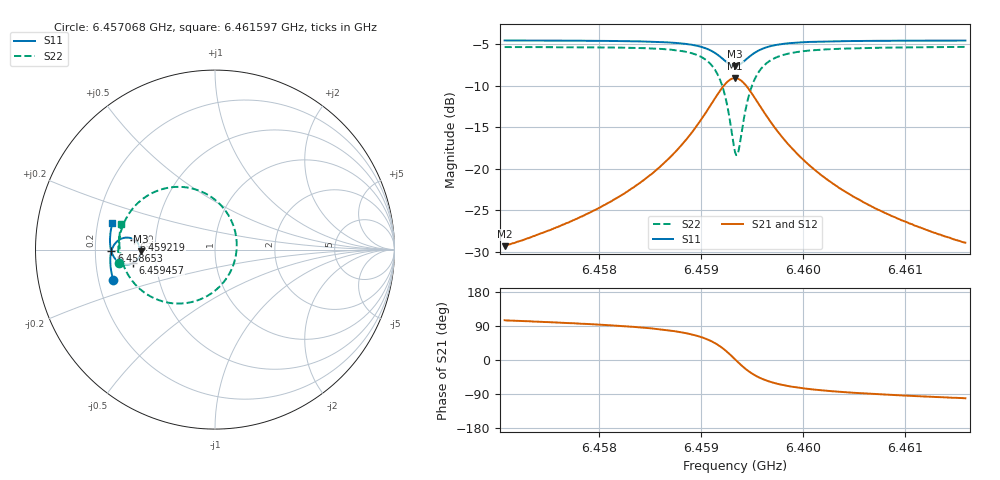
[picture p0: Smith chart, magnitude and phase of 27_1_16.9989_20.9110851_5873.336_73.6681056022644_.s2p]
#  HZ  S  RI  R  50.00
! Rohde & Schwarz Vector Network Analyzer
! Rohde-Schwarz,ZNB20-2Port,1311601062101988,3.16
! Created: UTC 3/20/2024, 10:53:13 PM
! freq[Hz]  re:S11  im:S11  re:S21  im:S21  re:S12  im:S12  re:S22  im:S22
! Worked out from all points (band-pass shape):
!   401 points, 6.457068 GHz to 6.461597 GHz, reference 50 ohm
!   highest |S21| = -9.09 dB at 6.459332 GHz (marker M1); lowest = -29.4 dB at 6.457068 GHz (marker M2)
!   |S21| within 3 dB of the highest: 6.459106 GHz to 6.459559 GHz (452.8 kHz wide, 0.00701 % of centre)
!   lowest |S11| = -7.6 dB at 6.459332 GHz (marker M3), VSWR 2.42, Z = 20.7 - j0.421 ohm
!   |S11| at or under -10 dB: nowhere
!   |S22| runs from -18.4 to -5.3 dB; largest |S21 - S12| = 0.014
!   S11 on the Smith chart (normalised r, x): 6.457068 GHz: 0.26, -0.13; 6.458653 GHz: 0.27, -0.01; 6.459219 GHz: 0.38, +0.05; 6.459457 GHz: 0.37, -0.07; 6.461597 GHz: 0.26, +0.12
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6.4570675e9  -0.5678 -0.1667  -0.00873 0.0329  -0.00686 0.0331  -0.5346 -0.0761
6.4578262e9  -0.5811 -0.1  -0.00501 0.0511  -0.00267 0.0506  -0.5386 0.0136
6.4582565e9  -0.5836 -0.0565  0.0013 0.0716  0.00458 0.0702  -0.5289 0.083
6.4585849e9  -0.5793 -0.0167  0.0154 0.1001  0.0194 0.0973  -0.5028 0.1586
6.4586529e9  -0.5771 -0.00717  0.0207 0.1085  0.0248 0.1053  -0.4923 0.1786
6.4588454e9  -0.5641 0.0232  0.0479 0.1397  0.052 0.1346  -0.4412 0.2478
6.4589926e9  -0.541 0.0495  0.0941 0.1704  0.0972 0.1635  -0.3562 0.3121
6.4591285e9  -0.4964 0.0669  0.1826 0.1864  0.1835 0.1791  -0.1943 0.3495
6.459219e9  -0.4511 0.0561  0.2738 0.1541  0.2739 0.1485  -0.026 0.2967
6.459287e9  -0.4216 0.0232  0.3346 0.0808  0.3369 0.0756  0.0899 0.164
6.4593323e9  -0.4148 -0.00843  0.3508 0.0117  0.3546 0.00484  0.1213 0.0347
6.4593663e9  -0.4188 -0.0326  0.3445 -0.0415  0.3486 -0.0507  0.1086 -0.0661
6.4594115e9  -0.4348 -0.0591  0.315 -0.1022  0.3174 -0.1143  0.0488 -0.1806
6.4594568e9  -0.4574 -0.0758  0.2721 -0.1436  0.2711 -0.157  -0.0383 -0.2557
6.4595474e9  -0.5013 -0.0827  0.1857 -0.1744  0.1794 -0.1861  -0.2102 -0.3006
6.4596154e9  -0.5261 -0.0753  0.1367 -0.1721  0.1285 -0.1811  -0.3047 -0.2844
6.4596946e9  -0.546 -0.0621  0.0965 -0.1596  0.0879 -0.1659  -0.3797 -0.2488
6.4598532e9  -0.5678 -0.0342  0.0511 -0.1309  0.0434 -0.1337  -0.4604 -0.1751
6.460091e9  -0.5805 0.00131  0.0221 -0.0987  0.016 -0.0993  -0.508 -0.0915
6.460442e9  -0.5852 0.0433  0.00568 -0.0708  0.00154 -0.0702  -0.5295 -0.00966
6.4608497e9  -0.5833 0.0845  -0.00174 -0.0526  -0.00452 -0.0517  -0.5329 0.0562
6.461597e9  -0.5714 0.1509  -0.00681 -0.0351  -0.00835 -0.0341  -0.5213 0.1454
